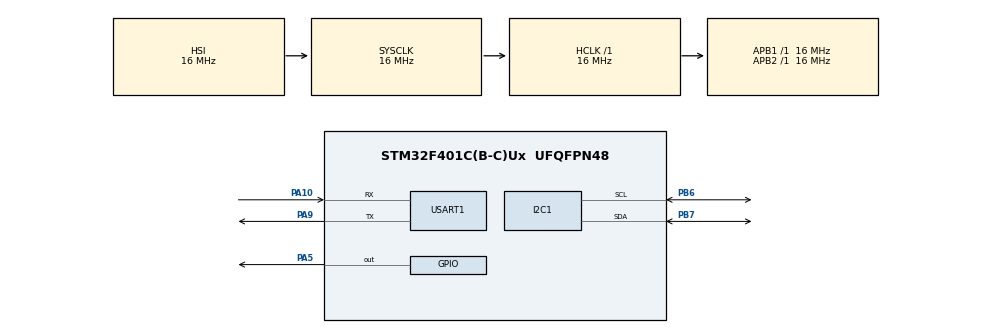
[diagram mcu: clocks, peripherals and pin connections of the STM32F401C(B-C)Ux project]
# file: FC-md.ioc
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I2C1.I2C_Mode=I2C_Fast
Mcu.Family=STM32F4
Mcu.Name=STM32F401C(B-C)Ux
Mcu.Package=UFQFPN48
NVIC.PriorityGroup=NVIC_PRIORITYGROUP_4
PA10.Mode=Asynchronous
PA10.Signal=USART1_RX
PA13.Mode=Serial_Wire
PA13.Signal=SYS_JTMS-SWDIO
PA14.Mode=Serial_Wire
PA14.Signal=SYS_JTCK-SWCLK
PA5.Signal=GPIO_Output
PA9.Mode=Asynchronous
PA9.Signal=USART1_TX
PB6.Mode=I2C
PB6.Signal=I2C1_SCL
PB7.Mode=I2C
PB7.Signal=I2C1_SDA
ProjectManager.HeapSize=0x200
ProjectManager.StackSize=0x400
ProjectManager.TargetToolchain=STM32CubeIDE
RCC.AHBFreq_Value=16000000
RCC.APB1Freq_Value=16000000
RCC.APB2Freq_Value=16000000
RCC.CortexFreq_Value=16000000
RCC.HSE_VALUE=25000000
RCC.HSI_VALUE=16000000
RCC.LSE_VALUE=32768
RCC.SYSCLKFreq_VALUE=16000000
RCC.VCOOutputFreq_Value=192000000
USART1.VirtualMode=VM_ASYNC
board=custom

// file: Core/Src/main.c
/* USER CODE BEGIN Header */
/**
  **************************
  * @file           : main.c
  * @brief          : Main program body
  **************************
  * @attention
  *
  * Copyright (c) 2021 STMicroelectronics.
  * All rights reserved.
  *
  * This software is licensed under terms that can be found in the LICENSE file
  * in the root directory of this software component.
  * If no LICENSE file comes with this software, it is provided AS-IS.
  *
  **************************
  */
/* USER CODE END Header */
#include "main.h"

/* USER CODE BEGIN Includes */
#include <stdio.h>
#include <string.h>
#include <stdlib.h>
#include <math.h>
#include <stdbool.h>
/* USER CODE END Includes */

/* USER CODE BEGIN PD */
#define MPU6050_ADRR 0X68<<1
#define PWR_MGMT_1_REG 0X6B
#define SMPLRT_DIV_REG 0X19
#define GYRO_CNFG_REG 0X1B
#define ACC_CNFG_REG 0X1C

/* USER CODE END PD */

I2C_HandleTypeDef hi2c1;

UART_HandleTypeDef huart1;

/* USER CODE BEGIN PV */
uint8_t data;
uint8_t buffer[2],tuffer[6],cuffer[6];  //Ham acc ve gyro degerlerinin tutuldugu listeler
int16_t gyro_raw[3],acc_raw[3]; //anlamlandırılmıs ham degerler
float gyro_cal[3]; //kalibrasyon offsetlerini tutan liste
int16_t acc_total_vector;
float angle_pitch_gyro, angle_roll_gyro;
float angle_pitch_acc, angle_roll_acc;
float angle_pitch, angle_roll;
int16_t raw_temp;
float temp;
int i;
float prevtime,prevtime1,time1,elapsedtime1,prevtime2,time2,elapsedtime2;
HAL_StatusTypeDef set_gyro;

/* USER CODE END PV */

void SystemClock_Config(void);
static void MX_GPIO_Init(void);
static void MX_I2C1_Init(void);
static void MX_USART1_UART_Init(void);

int main(void)
{

  /* MCU Configuration--------------------------------------------------------*/

  /* Reset of all peripherals, Initializes the Flash interface and the Systick. */
  HAL_Init();

  /* Configure the system clock */
  SystemClock_Config();

  /* Initialize all configured peripherals */
  MX_GPIO_Init();
  MX_I2C1_Init();
  MX_USART1_UART_Init();
  /* USER CODE BEGIN 2 */
  //PWR_MGMT_1_CNFG
  data = 0x00;
  HAL_I2C_Mem_Write (&hi2c1, MPU6050_ADRR, PWR_MGMT_1_REG, 1, &data, 1, HAL_MAX_DELAY);
//kullanılan birimin pointer olarak döndürülmesi, cihaz slave adresi, register adresi, register
//boyutu, verinin pointer olarak döndürülmesi, verinin boyutu, zaman aşımı değeri
//Gyro_Config --> +-500 derece/saniye
  data = 0x08;
  HAL_I2C_Mem_Write (&hi2c1, MPU6050_ADRR, GYRO_CNFG_REG, 1, &data, 1, HAL_MAX_DELAY);
//ACC_Config --> +-8g
  data = 0x10;
  HAL_I2C_Mem_Write (&hi2c1, MPU6050_ADRR, ACC_CNFG_REG, 1, &data, 1, HAL_MAX_DELAY);

  for(i=0; i<=2000; i++)
  {
	  prevtime2=time2;
	  time2=HAL_GetTick();
	  elapsedtime2=(time2-prevtime2)*1000;

	  cuffer[0]=0x43;
	  HAL_I2C_Master_Transmit(&hi2c1,MPU6050_ADRR,cuffer,1,HAL_MAX_DELAY);
	  HAL_I2C_Master_Receive(&hi2c1,MPU6050_ADRR,cuffer,6,HAL_MAX_DELAY);

	  gyro_raw[0] = (cuffer[0] << 8 | cuffer[1]);
	  gyro_raw[1] = (cuffer[2] << 8 | cuffer[3]);
	  gyro_raw[2] = (cuffer[4] << 8 | cuffer[5]);

	  gyro_cal[0] += gyro_raw[0];
	  gyro_cal[1] += gyro_raw[1];
	  gyro_cal[2] += gyro_raw[2];

		HAL_Delay(3);

  }

  gyro_cal[0] /= 2000;
  gyro_cal[1] /= 2000;
  gyro_cal[2] /= 2000;

  //HAL_GPIO_TogglePin(GPIOA, GPIO_PIN_5);
  HAL_Delay(1000);

  /* USER CODE END 2 */

  /* Infinite loop */
  /* USER CODE BEGIN WHILE */
  while (1)
  {

	  prevtime1=time1;
	  time1=HAL_GetTick();
	  elapsedtime1=(time1-prevtime1)*1000;

	  tuffer[0]=0x3B;
	  HAL_I2C_Master_Transmit(&hi2c1,MPU6050_ADRR,tuffer,1,HAL_MAX_DELAY);
	  HAL_I2C_Master_Receive(&hi2c1,MPU6050_ADRR,tuffer,6,HAL_MAX_DELAY);

	  	  //acc
	  acc_raw[0] = (tuffer[0] << 8 | tuffer[1]);
	  acc_raw[1] = (tuffer[2] << 8 | tuffer[3]);
	  acc_raw[2] = (tuffer[4] << 8 | tuffer[5]);

	  buffer[0]=0x41;
	  HAL_I2C_Master_Transmit(&hi2c1,MPU6050_ADRR,buffer,1,HAL_MAX_DELAY);
	  HAL_I2C_Master_Receive(&hi2c1,MPU6050_ADRR,buffer,2,HAL_MAX_DELAY);

	 //temprature
	  raw_temp = (buffer[0] << 8 | buffer[1]);
	  temp = (raw_temp / 340.0) + 36.53;

	  cuffer[0]=0x43;
	  HAL_I2C_Master_Transmit(&hi2c1,MPU6050_ADRR,cuffer,1,HAL_MAX_DELAY);
	  HAL_I2C_Master_Receive(&hi2c1,MPU6050_ADRR,cuffer,6,HAL_MAX_DELAY);

	  //gyro raw
	  gyro_raw[0] = (cuffer[0] << 8 | cuffer[1]);
	  gyro_raw[1] = (cuffer[2] << 8 | cuffer[3]);
	  gyro_raw[2] = (cuffer[4] << 8 | cuffer[5]);

	  gyro_raw[0] -= gyro_cal[0];
	  gyro_raw[1] -= gyro_cal[1];
	  gyro_raw[2] -= gyro_cal[2];

	  angle_pitch_gyro += gyro_raw[0] * 0.0000611; //  1*0.004s/65.5= 0.0000611
	  angle_roll_gyro += gyro_raw[1] * 0.0000611;  // 0.004s gyronun ölçtüğü derece/s cinsinden
	 //veridir bunu derece olarak okuyabilmemiz için saniye ile çarptık datasheetteki değere göre 65.5'e böldük
	  angle_pitch_gyro += angle_roll_gyro * sin(gyro_raw[2] * 0.000001066);//0.0000611->rad=0.000001066
	  angle_roll_gyro -= angle_pitch_gyro * sin(gyro_raw[2] * 0.000001066);

	  acc_total_vector = sqrt((acc_raw[0]*acc_raw[0])+(acc_raw[1]*acc_raw[1])+(acc_raw[2]*acc_raw[2]));

	  //57.296=1/(pi/180)
	  angle_pitch_acc = asin((float)acc_raw[1]/acc_total_vector)*57.296;//57.296 ile çarparak radyanı dereceye çevirdik
	  angle_roll_acc = asin((float)acc_raw[0]/acc_total_vector)*-57.296;

	  angle_pitch_acc -= 0.00; // kalibrasyon için güvendiğimiz acc ile ölçüm yapıp farkı
	  angle_roll_acc -= 0.00;  //çıkartmamız lazım

	  if(set_gyro){
		  angle_pitch = (angle_pitch_gyro * 0.9996 + angle_pitch_acc * 0.0004);
		  angle_roll = (angle_roll_gyro * 0.9996 + angle_roll_acc * 0.0004);

	  }
	  else
	  {
		  angle_pitch = angle_pitch_acc;//0
		  set_gyro = true;
	  }

	  while((HAL_GetTick() - prevtime)*1000 < 4000);
	  prevtime = HAL_GetTick();
  }
    /* USER CODE END WHILE */

  }

void SystemClock_Config(void)
{
  RCC_OscInitTypeDef RCC_OscInitStruct = {0};
  RCC_ClkInitTypeDef RCC_ClkInitStruct = {0};

  /** Configure the main internal regulator output voltage
  */
  __HAL_RCC_PWR_CLK_ENABLE();
  __HAL_PWR_VOLTAGESCALING_CONFIG(PWR_REGULATOR_VOLTAGE_SCALE2);
  /** Initializes the RCC Oscillators according to the specified parameters
  * in the RCC_OscInitTypeDef structure.
  */
  RCC_OscInitStruct.OscillatorType = RCC_OSCILLATORTYPE_HSI;
  RCC_OscInitStruct.HSIState = RCC_HSI_ON;
  RCC_OscInitStruct.HSICalibrationValue = RCC_HSICALIBRATION_DEFAULT;
  RCC_OscInitStruct.PLL.PLLState = RCC_PLL_NONE;
  if (HAL_RCC_OscConfig(&RCC_OscInitStruct) != HAL_OK)
  {
    Error_Handler();
  }
  /** Initializes the CPU, AHB and APB buses clocks
  */
  RCC_ClkInitStruct.ClockType = RCC_CLOCKTYPE_HCLK|RCC_CLOCKTYPE_SYSCLK
                              |RCC_CLOCKTYPE_PCLK1|RCC_CLOCKTYPE_PCLK2;
  RCC_ClkInitStruct.SYSCLKSource = RCC_SYSCLKSOURCE_HSI;
  RCC_ClkInitStruct.AHBCLKDivider = RCC_SYSCLK_DIV1;
  RCC_ClkInitStruct.APB1CLKDivider = RCC_HCLK_DIV1;
  RCC_ClkInitStruct.APB2CLKDivider = RCC_HCLK_DIV1;

  if (HAL_RCC_ClockConfig(&RCC_ClkInitStruct, FLASH_LATENCY_0) != HAL_OK)
  {
    Error_Handler();
  }
}

static void MX_I2C1_Init(void)
{

  hi2c1.Instance = I2C1;
  hi2c1.Init.ClockSpeed = 400000;
  hi2c1.Init.DutyCycle = I2C_DUTYCYCLE_2;
  hi2c1.Init.OwnAddress1 = 0;
  hi2c1.Init.AddressingMode = I2C_ADDRESSINGMODE_7BIT;
  hi2c1.Init.DualAddressMode = I2C_DUALADDRESS_DISABLE;
  hi2c1.Init.OwnAddress2 = 0;
  hi2c1.Init.GeneralCallMode = I2C_GENERALCALL_DISABLE;
  hi2c1.Init.NoStretchMode = I2C_NOSTRETCH_DISABLE;
  if (HAL_I2C_Init(&hi2c1) != HAL_OK)
  {
    Error_Handler();
  }

}

static void MX_USART1_UART_Init(void)
{

  huart1.Instance = USART1;
  huart1.Init.BaudRate = 115200;
  huart1.Init.WordLength = UART_WORDLENGTH_8B;
  huart1.Init.StopBits = UART_STOPBITS_1;
  huart1.Init.Parity = UART_PARITY_NONE;
  huart1.Init.Mode = UART_MODE_TX_RX;
  huart1.Init.HwFlowCtl = UART_HWCONTROL_NONE;
  huart1.Init.OverSampling = UART_OVERSAMPLING_16;
  if (HAL_UART_Init(&huart1) != HAL_OK)
  {
    Error_Handler();
  }

}

static void MX_GPIO_Init(void)
{
  GPIO_InitTypeDef GPIO_InitStruct = {0};

  /* GPIO Ports Clock Enable */
  __HAL_RCC_GPIOA_CLK_ENABLE();
  __HAL_RCC_GPIOB_CLK_ENABLE();

  /*Configure GPIO pin Output Level */
  HAL_GPIO_WritePin(GPIOA, GPIO_PIN_5, GPIO_PIN_RESET);

  /*Configure GPIO pin : PA5 */
  GPIO_InitStruct.Pin = GPIO_PIN_5;
  GPIO_InitStruct.Mode = GPIO_MODE_OUTPUT_PP;
  GPIO_InitStruct.Pull = GPIO_NOPULL;
  GPIO_InitStruct.Speed = GPIO_SPEED_FREQ_LOW;
  HAL_GPIO_Init(GPIOA, &GPIO_InitStruct);

}

void Error_Handler(void)
{
  __disable_irq();
  while (1)
  {
  }
}
